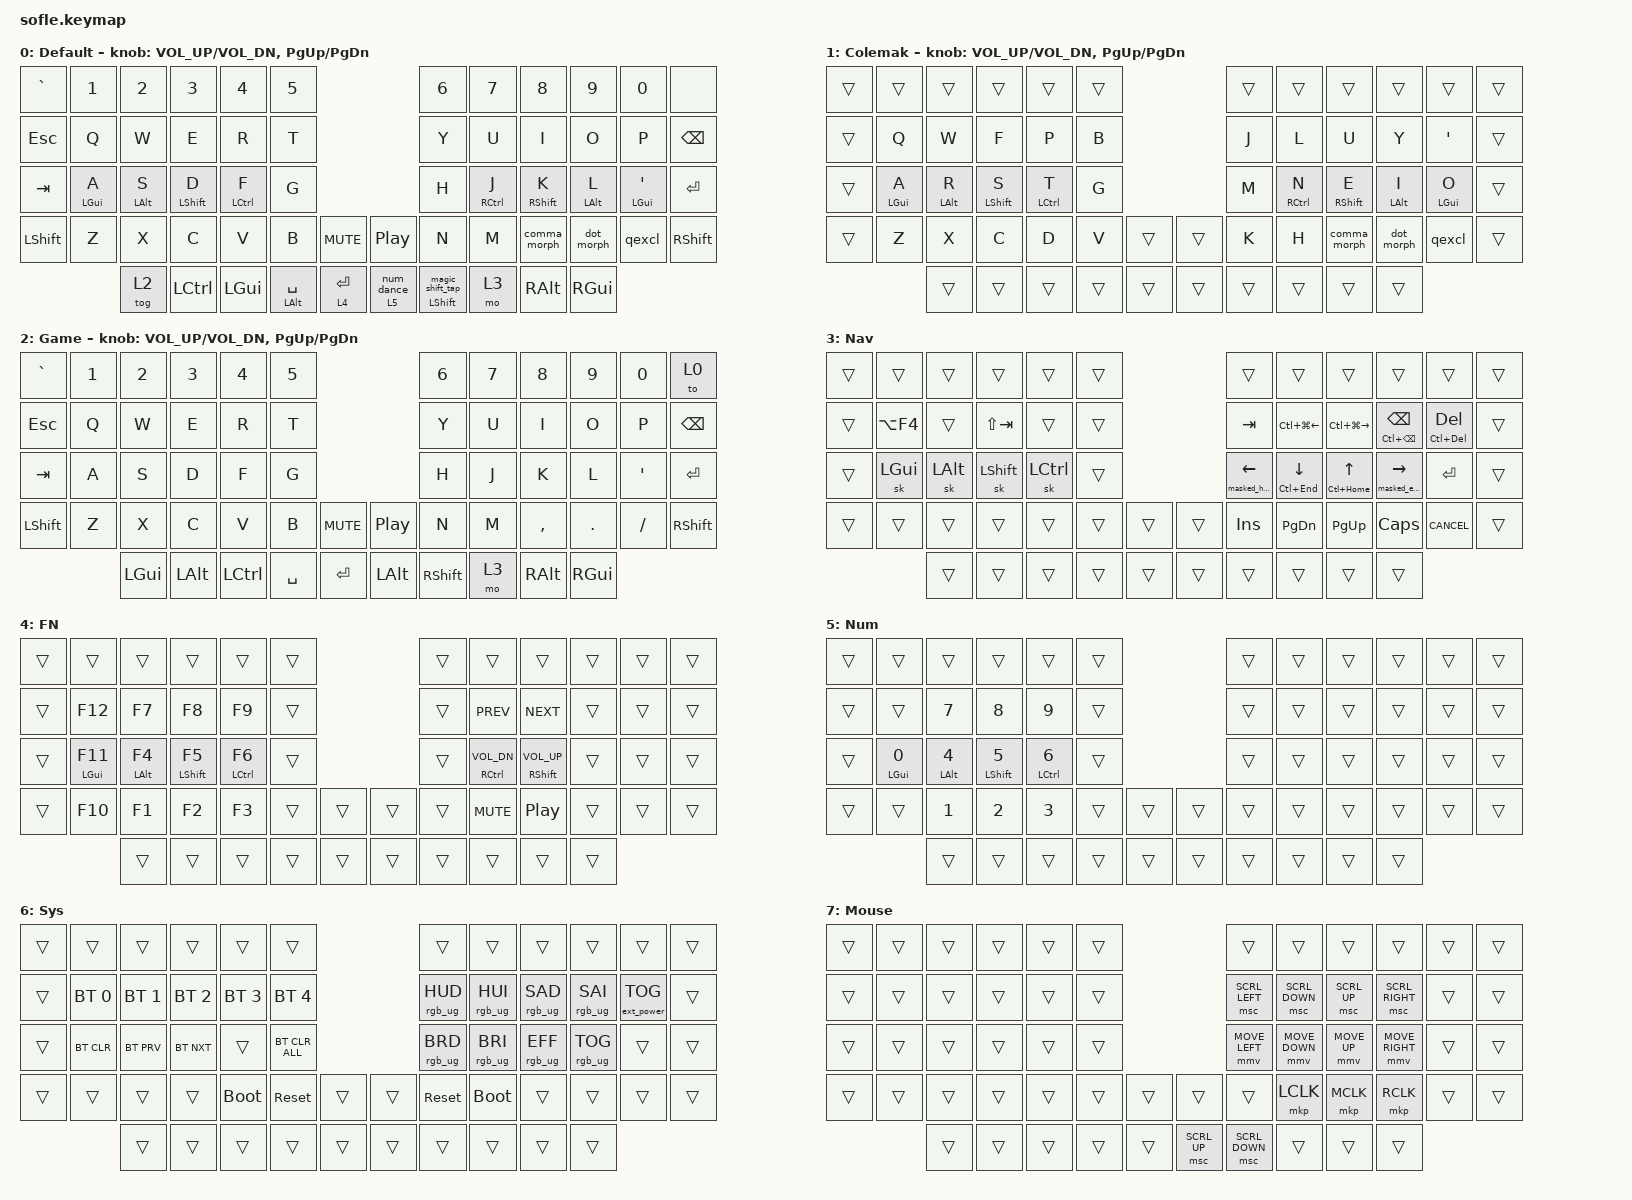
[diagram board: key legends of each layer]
#include <behaviors/num_word.dtsi> // Requires zmk-auto-layer module.
#include <behaviors/unicode.dtsi> // Requires zmk-unicode module.
#include <zmk-helpers/helper.h> // Requires zmk-helpers module.
#include <behaviors.dtsi>
#include <dt-bindings/zmk/bt.h>
#include <dt-bindings/zmk/ext_power.h>
#include <dt-bindings/zmk/keys.h>
#include <dt-bindings/zmk/pointing.h>
#include <dt-bindings/zmk/rgb.h>

&caps_word { /delete-property/ ignore-modifiers; };

&lt {
    flavor = "balanced";
    quick-tap-ms = <175>;
};

&mt {
    flavor = "tap-preferred";
    tapping-term-ms = <220>;
    quick-tap-ms = <220>;
};

&sk {
    quick-release;
    release-after-ms = <900>;
};

&sl { ignore-modifiers; };

/ {
    conditional_layers {
        compatible = "zmk,conditional-layers";

        Sys {
            if-layers = <4 5>;
            then-layer = <6>;
        };
    };

    combos {
        compatible = "zmk,combos";

        esc {
            bindings = <&kp ESC>;
            key-positions = <14 15>;
            timeout-ms = <18>;
            require-prior-idle-ms = <150>;
            layers = <0 1 3 5 7>;
        };

        mouse {
            bindings = <&mo 7>;
            key-positions = <15 16>;
            timeout-ms = <18>;
            require-prior-idle-ms = <150>;
            layers = <0 1 3 5 7>;
        };

        tab {
            bindings = <&kp TAB>;
            key-positions = <26 27>;
            layers = <0 1 3 5 7>;
            timeout-ms = <18>;
            require-prior-idle-ms = <150>;
        };

        cut {
            bindings = <&kp LC(X)>;
            key-positions = <38 40>;
            layers = <0 1 3 5 7>;
            timeout-ms = <18>;
            require-prior-idle-ms = <150>;
        };

        copy {
            bindings = <&kp LC(INS)>;
            key-positions = <38 39>;
            layers = <0 1 3 5 7>;
            timeout-ms = <18>;
            require-prior-idle-ms = <150>;
        };

        paste {
            bindings = <&kp LS(INS)>;
            key-positions = <39 40>;
            layers = <0 1 3 5 7>;
            timeout-ms = <18>;
            require-prior-idle-ms = <150>;
        };

        bspc {
            bindings = <&kp BSPC>;
            key-positions = <19 20>;
            layers = <0 1 3 5 7>;
            timeout-ms = <18>;
            require-prior-idle-ms = <150>;
        };

        del {
            bindings = <&kp DEL>;
            key-positions = <20 21>;
            layers = <0 1 3 5 7>;
            timeout-ms = <18>;
            require-prior-idle-ms = <150>;
        };

        lpar {
            bindings = <&lpar_lt_moprh>;
            key-positions = <31 32>;
            layers = <0 1 5 7>;
            timeout-ms = <18>;
            require-prior-idle-ms = <150>;
        };

        rpar {
            bindings = <&rpar_gt_morph>;
            key-positions = <32 33>;
            layers = <0 1 5 7>;
            timeout-ms = <18>;
            require-prior-idle-ms = <150>;
        };

        lt {
            bindings = <&kp LT>;
            key-positions = <31 32>;
            layers = <3>;
            timeout-ms = <18>;
            require-prior-idle-ms = <150>;
        };

        gt {
            bindings = <&kp GT>;
            key-positions = <32 33>;
            layers = <3>;
            timeout-ms = <18>;
            require-prior-idle-ms = <150>;
        };

        lbkt {
            bindings = <&kp LBKT>;
            key-positions = <45 46>;
            layers = <0 1 5 7>;
            timeout-ms = <18>;
            require-prior-idle-ms = <150>;
        };

        rbkt {
            bindings = <&kp RBKT>;
            key-positions = <46 47>;
            layers = <0 1 5 7>;
            timeout-ms = <18>;
            require-prior-idle-ms = <150>;
        };

        lbrc {
            bindings = <&kp LBRC>;
            key-positions = <45 46>;
            layers = <3>;
            timeout-ms = <18>;
            require-prior-idle-ms = <150>;
        };

        rbrc {
            bindings = <&kp RBRC>;
            key-positions = <46 47>;
            layers = <3>;
            timeout-ms = <18>;
            require-prior-idle-ms = <150>;
        };

        at {
            bindings = <&kp AT>;
            key-positions = <14 25>;
            layers = <0 1 3 5 7>;
            timeout-ms = <30>;
            require-prior-idle-ms = <50>;
        };

        hash {
            bindings = <&kp HASH>;
            key-positions = <15 26>;
            layers = <0 1 3 5 7>;
            timeout-ms = <30>;
            require-prior-idle-ms = <50>;
        };

        dllr {
            bindings = <&kp DOLLAR>;
            key-positions = <16 27>;
            layers = <0 1 3 5 7>;
            timeout-ms = <30>;
            require-prior-idle-ms = <50>;
        };

        prcnt {
            bindings = <&kp PERCENT>;
            key-positions = <17 28>;
            layers = <0 1 3 5 7>;
            timeout-ms = <30>;
            require-prior-idle-ms = <50>;
        };

        grave {
            bindings = <&kp GRAVE>;
            key-positions = <26 37>;
            layers = <0 1 3 5 7>;
            timeout-ms = <30>;
            require-prior-idle-ms = <50>;
        };

        blsh {
            bindings = <&kp BACKSLASH>;
            key-positions = <27 38>;
            layers = <0 1 3 5 7>;
            timeout-ms = <30>;
            require-prior-idle-ms = <50>;
        };

        equal {
            bindings = <&kp EQUAL>;
            key-positions = <28 39>;
            layers = <0 1 3 5 7>;
            timeout-ms = <30>;
            require-prior-idle-ms = <50>;
        };

        tilde {
            bindings = <&kp TILDE>;
            key-positions = <29 40>;
            layers = <0 1 3 5 7>;
            timeout-ms = <30>;
            require-prior-idle-ms = <50>;
        };

        caret {
            bindings = <&kp CARET>;
            key-positions = <18 31>;
            layers = <0 1 3 5 7>;
            timeout-ms = <30>;
            require-prior-idle-ms = <50>;
        };

        plus {
            bindings = <&kp PLUS>;
            key-positions = <19 32>;
            layers = <0 1 3 5 7>;
            timeout-ms = <30>;
            require-prior-idle-ms = <50>;
        };

        star {
            bindings = <&kp STAR>;
            key-positions = <20 33>;
            layers = <0 1 3 5 7>;
            timeout-ms = <30>;
            require-prior-idle-ms = <50>;
        };

        amps {
            bindings = <&kp AMPS>;
            key-positions = <21 34>;
            layers = <0 1 3 5 7>;
            timeout-ms = <30>;
            require-prior-idle-ms = <50>;
        };

        under {
            bindings = <&kp UNDER>;
            key-positions = <30 45>;
            layers = <0 1 3 5 7>;
            timeout-ms = <30>;
            require-prior-idle-ms = <50>;
        };

        minus {
            bindings = <&kp MINUS>;
            key-positions = <31 46>;
            layers = <0 1 3 5 7>;
            timeout-ms = <30>;
            require-prior-idle-ms = <50>;
        };

        fslh {
            bindings = <&kp FSLH>;
            key-positions = <47 32>;
            layers = <0 1 3 5 7>;
            timeout-ms = <30>;
            require-prior-idle-ms = <50>;
        };

        pipe {
            bindings = <&kp PIPE>;
            key-positions = <33 48>;
            layers = <0 1 3 5 7>;
            timeout-ms = <30>;
            require-prior-idle-ms = <50>;
        };

        tog_colemak {
            bindings = <&tog 1>;
            key-positions = <38 47>;
            layers = <0 1 3 5 7>;
            timeout-ms = <18>;
            require-prior-idle-ms = <150>;
        };

        tog_game {
            bindings = <&tog 2>;
            key-positions = <37 48>;
            layers = <0 1 2 3 5 7>;
            timeout-ms = <18>;
            require-prior-idle-ms = <150>;
        };
    };

    behaviors {
        hml: homerow_mods_left {
            compatible = "zmk,behavior-hold-tap";
            label = "HOMEROW_MODS_LEFT";
            bindings = <&kp>, <&kp>;

            #binding-cells = <2>;
            tapping-term-ms = <200>;
            flavor = "balanced";
            quick-tap-ms = <175>;
            hold-trigger-key-positions = <6 7 8 9 10 11 18 19 20 21 22 23 30 31 32 33 34 35 43 44 45 46 47 48 49 55 56 57 58 59>;
            hold-trigger-on-release;
            require-prior-idle-ms = <100>;
        };

        hmr: homerow_mods_right {
            compatible = "zmk,behavior-hold-tap";
            label = "HOMEROW_MODS_RIGHT";
            bindings = <&kp>, <&kp>;

            #binding-cells = <2>;
            tapping-term-ms = <200>;
            flavor = "balanced";
            quick-tap-ms = <175>;
            require-prior-idle-ms = <100>;
            hold-trigger-on-release;
            hold-trigger-key-positions = <0 1 2 3 4 5 12 13 14 15 16 17 24 25 26 27 28 29 36 37 38 39 40 41 42 50 51 52 53 54>;
        };

        hsl: homerow_shift_left {
            compatible = "zmk,behavior-hold-tap";
            label = "HOMEROW_SHIFT_LEFT";
            bindings = <&kp>, <&kp>;

            #binding-cells = <2>;
            tapping-term-ms = <200>;
            flavor = "balanced";
            quick-tap-ms = <175>;
            hold-trigger-key-positions = <6 7 8 9 10 11 18 19 20 21 22 23 30 31 32 33 34 35 43 44 45 46 47 48 49 55 56 57 58 59>;
            hold-trigger-on-release;
        };

        hsr: homerow_shift_right {
            compatible = "zmk,behavior-hold-tap";
            label = "HOMEROW_SHIFT_RIGHT";
            bindings = <&kp>, <&kp>;

            #binding-cells = <2>;
            tapping-term-ms = <200>;
            flavor = "balanced";
            quick-tap-ms = <175>;
            hold-trigger-on-release;
            hold-trigger-key-positions = <0 1 2 3 4 5 12 13 14 15 16 17 24 25 26 27 28 29 36 37 38 39 40 41 42 50 51 52 53 54>;
        };

        hll: homerow_layer_left {
            compatible = "zmk,behavior-hold-tap";
            label = "HOMEROW_LAYER_LEFT";
            bindings = <&mo>, <&kp>;

            #binding-cells = <2>;
            tapping-term-ms = <200>;
            flavor = "balanced";
            quick-tap-ms = <175>;
            hold-trigger-on-release;
            hold-trigger-key-positions = <6 7 8 9 10 11 18 19 20 21 22 23 30 31 32 33 34 35 43 44 45 46 47 48 49 55 56 57 58 59 39 40 38>;
        };

        hlr: homerow_layer_right {
            compatible = "zmk,behavior-hold-tap";
            label = "HOMEROW_LAYER_RIGHT";
            bindings = <&mo>, <&kp>;

            #binding-cells = <2>;
            tapping-term-ms = <200>;
            flavor = "balanced";
            quick-tap-ms = <175>;
            hold-trigger-on-release;
            hold-trigger-key-positions = <0 1 2 3 4 5 12 13 14 15 16 17 24 25 26 27 28 29 36 37 38 39 40 41 42 50 51 52 53 54 45 46 47>;
        };

        lpar_lt_moprh: lpar_lt_moprh {
            compatible = "zmk,behavior-mod-morph";
            label = "LPAR_LT_MOPRH";
            bindings = <&kp LPAR>, <&kp LT>;

            #binding-cells = <0>;
            mods = <(MOD_LSFT|MOD_RSFT)>;
        };

        rpar_gt_morph: rpar_gt_morph {
            compatible = "zmk,behavior-mod-morph";
            label = "RPAR_GT_MORPH";
            bindings = <&kp RPAR>, <&kp GT>;

            #binding-cells = <0>;
            mods = <(MOD_LSFT|MOD_RSFT)>;
        };

        hm_combo_lpar_lt: hm_combo_lpar_lt {
            compatible = "zmk,behavior-hold-tap";
            label = "HM_COMBO_LPAR_LT";
            bindings = <&kp>, <&lpar_lt_moprh>;

            #binding-cells = <2>;
            tapping-term-ms = <200>;
            require-prior-idle-ms = <100>;
            quick-tap-ms = <175>;
            hold-trigger-on-release;
            flavor = "balanced";
            hold-trigger-key-positions = <0 1 5 12 13 14 15 16 17 24 25 26 27 28 29 36 37 38 39 40 41 42 50 51 52 53 54 2 3 4 55 56 57 58 59>;
        };

        hm_combo_rpar_gt: hm_combo_rpar_gt {
            compatible = "zmk,behavior-hold-tap";
            label = "HM_COMBO_RPAR_GT";
            bindings = <&kp>, <&rpar_gt_morph>;

            #binding-cells = <2>;
            tapping-term-ms = <200>;
            require-prior-idle-ms = <100>;
            quick-tap-ms = <175>;
            hold-trigger-on-release;
            flavor = "balanced";
            hold-trigger-key-positions = <6 7 8 9 10 11 18 19 20 21 22 23 30 31 32 33 34 35 43 44 45 46 47 48 49 55 56 57 58 59 54 53 52 50 51>;
        };

        masked_home: masked_home {
            compatible = "zmk,behavior-mod-morph";
            label = "MASKED_HOME";
            bindings = <&kp HOME>, <&kp HOME>;

            #binding-cells = <0>;
            mods = <(MOD_LCTL)>;
        };

        masked_end: masked_end {
            compatible = "zmk,behavior-mod-morph";
            label = "MASKED_END";
            bindings = <&kp END>, <&kp END>;

            #binding-cells = <0>;
            mods = <(MOD_LCTL)>;
        };

        mt_home: mt_home {
            compatible = "zmk,behavior-hold-tap";
            label = "MT_HOME";
            bindings = <&masked_home>, <&kp>;

            #binding-cells = <2>;
            tapping-term-ms = <220>;
            flavor = "tap-preferred";
            quick-tap-ms = <220>;
        };

        mt_end: mt_end {
            compatible = "zmk,behavior-hold-tap";
            label = "MT_END";
            bindings = <&masked_end>, <&kp>;

            #binding-cells = <2>;
            tapping-term-ms = <220>;
            flavor = "tap-preferred";
            quick-tap-ms = <220>;
        };

        comma_morph: comma_morph {
            compatible = "zmk,behavior-mod-morph";
            label = "COMMA_MORPH";
            bindings = <&kp COMMA>, <&comma_inner_morph>;

            #binding-cells = <0>;
            mods = <(MOD_LSFT|MOD_RSFT)>;
        };

        comma_inner_morph: comma_inner_morph {
            compatible = "zmk,behavior-mod-morph";
            label = "COMMA_INNER_MORPH";
            bindings = <&kp SEMICOLON>, <&kp LESS_THAN>;

            #binding-cells = <0>;
            mods = <(MOD_RCTL|MOD_LCTL)>;
        };

        dot_morph: dot_morph {
            compatible = "zmk,behavior-mod-morph";
            label = "DOT_MORPH";
            bindings = <&kp DOT>, <&dot_inner_morph>;

            #binding-cells = <0>;
            mods = <(MOD_LSFT|MOD_RSFT)>;
        };

        dot_inner_morph: dot_inner_morph {
            compatible = "zmk,behavior-mod-morph";
            label = "DOT_INNER_MORPH";
            bindings = <&kp COLON>, <&kp GREATER_THAN>;

            #binding-cells = <0>;
            mods = <(MOD_RCTL|MOD_LCTL)>;
        };

        qexcl: qexcl {
            compatible = "zmk,behavior-mod-morph";
            label = "QEXCL";
            bindings = <&kp QMARK>, <&kp EXCL>;

            #binding-cells = <0>;
            mods = <(MOD_LSFT|MOD_RSFT)>;
        };

        magic_shift: magic_shift {
            compatible = "zmk,behavior-hold-tap";
            label = "MAGIC_SHIFT";
            bindings = <&kp>, <&magic_shift_tap>;

            #binding-cells = <2>;
            tapping-term-ms = <200>;
            quick-tap-ms = <175>;
            flavor = "balanced";
        };

        magic_shift_tap: magic_shift_tap {
            compatible = "zmk,behavior-mod-morph";
            label = "MAGIC_SHIFT_TAP";
            bindings = <&shift_repeat>, <&caps_word>;

            #binding-cells = <0>;
            mods = <(MOD_LSFT)>;
        };

        shift_repeat: shift_repeat {
            compatible = "zmk,behavior-adaptive-key";
            label = "SHIFT_REPEAT";
            bindings = <&sk LSHFT>;
            #binding-cells = <0>;

            repeat {
                trigger-keys = <A B C D E F G H I J K L M N O P Q R S T U V W X Y Z>;
                bindings = <&key_repeat>;
                #binding-cells = <0>;
                max-prior-idle-ms = <1200>;
                strict-modifiers;
            };
        };

        smart_num: smart_num {
            compatible = "zmk,behavior-hold-tap";
            label = "SMART_NUM";
            bindings = <&mo>, <&num_dance>;

            #binding-cells = <2>;
            tapping-term-ms = <200>;
            quick-tap-ms = <175>;
            flavor = "balanced";
        };

        num_dance: num_dance {
            compatible = "zmk,behavior-tap-dance";
            label = "NUM_DANCE";
            bindings = <&num_word 5>, <&sl 5>;

            #binding-cells = <0>;
            tapping-term-ms = <200>;
        };
    };

    keymap {
        compatible = "zmk,keymap";

        default_layer {
            display-name = "Default";
            bindings = <
&kp GRAVE  &kp N1       &kp N2       &kp N3        &kp N4        &kp N5                                        &kp N6                 &kp N7        &kp N8        &kp N9       &kp N0         &none
&kp ESC    &kp Q        &kp W        &kp E         &kp R         &kp T                                         &kp Y                  &kp U         &kp I         &kp O        &kp P          &kp BSPC
&kp TAB    &hml LGUI A  &hml LALT S  &hsl LSHFT D  &hml LCTRL F  &kp G                                         &kp H                  &hmr RCTRL J  &hsr RSHFT K  &hmr LALT L  &hmr LGUI SQT  &kp RET
&kp LSHFT  &kp Z        &kp X        &kp C         &kp V         &kp B           &kp C_MUTE    &kp C_PP        &kp N                  &kp M         &comma_morph  &dot_morph   &qexcl         &kp RSHIFT
                        &tog 2       &kp LCTRL     &kp LGUI      &mt LALT SPACE  &lt 4 RET     &smart_num 5 0  &magic_shift LSHIFT 0  &mo 3         &kp RALT      &kp RGUI
            >;

            sensor-bindings = <&inc_dec_kp C_VOL_UP C_VOL_DN &inc_dec_kp PG_UP PG_DN>;
            label = "Default";
        };

        colemak_layer {
            display-name = "Colemak";
            bindings = <
&trans  &trans       &trans       &trans        &trans        &trans                    &trans  &trans        &trans        &trans       &trans       &trans
&trans  &kp Q        &kp W        &kp F         &kp P         &kp B                     &kp J   &kp L         &kp U         &kp Y        &kp SQT      &trans
&trans  &hml LGUI A  &hml LALT R  &hsl LSHFT S  &hml LCTRL T  &kp G                     &kp M   &hmr RCTRL N  &hsr RSHFT E  &hmr LALT I  &hmr LGUI O  &trans
&trans  &kp Z        &kp X        &kp C         &kp D         &kp V   &trans    &trans  &kp K   &kp H         &comma_morph  &dot_morph   &qexcl       &trans
                     &trans       &trans        &trans        &trans  &trans    &trans  &trans  &trans        &trans        &trans
            >;

            sensor-bindings =
                <&inc_dec_kp C_VOL_UP C_VOL_DN>,
                <&inc_dec_kp PG_UP PG_DN>;

            label = "Colemak";
        };

        game_layer {
            display-name = "Game";
            bindings = <
&kp GRAVE  &kp N1  &kp N2    &kp N3    &kp N4     &kp N5                             &kp N6     &kp N7  &kp N8     &kp N9    &kp N0    &to 0
&kp ESC    &kp Q   &kp W     &kp E     &kp R      &kp T                              &kp Y      &kp U   &kp I      &kp O     &kp P     &kp BSPC
&kp TAB    &kp A   &kp S     &kp D     &kp F      &kp G                              &kp H      &kp J   &kp K      &kp L     &kp SQT   &kp ENTER
&kp LSHFT  &kp Z   &kp X     &kp C     &kp V      &kp B      &kp C_MUTE    &kp C_PP  &kp N      &kp M   &kp COMMA  &kp DOT   &kp FSLH  &kp RSHIFT
                   &kp LGUI  &kp LALT  &kp LCTRL  &kp SPACE  &kp RET       &kp LALT  &kp RSHFT  &mo 3   &kp RALT   &kp RGUI
            >;

            sensor-bindings =
                <&inc_dec_kp C_VOL_UP C_VOL_DN>,
                <&inc_dec_kp PG_UP PG_DN>;

            label = "Game";
        };

        nav_layer {
            bindings = <
&trans  &trans      &trans    &trans       &trans     &trans                    &trans           &trans            &trans             &trans             &trans           &trans
&trans  &kp LA(F4)  &trans    &kp LS(TAB)  &trans     &trans                    &kp TAB          &kp LC(LG(LEFT))  &kp LC(LG(RIGHT))  &mt LC(BSPC) BSPC  &mt LC(DEL) DEL  &trans
&trans  &sk LGUI    &sk LALT  &sk LSHFT    &sk LCTRL  &trans                    &mt_home 0 LEFT  &mt LC(END) DOWN  &mt LC(HOME) UP    &mt_end 0 RIGHT    &kp RET          &trans
&trans  &trans      &trans    &trans       &trans     &trans  &trans    &trans  &kp INS          &kp PG_DN         &kp PG_UP          &kp CLCK           &kp K_CANCEL     &trans
                    &trans    &trans       &trans     &trans  &trans    &trans  &trans           &trans            &trans             &trans
            >;

            label = "Nav";
        };

        fn_layer {
            bindings = <
&trans  &trans         &trans        &trans         &trans         &trans                    &trans  &trans               &trans               &trans  &trans  &trans
&trans  &kp F12        &kp F7        &kp F8         &kp F9         &trans                    &trans  &kp C_PREV           &kp C_NEXT           &trans  &trans  &trans
&trans  &hml LGUI F11  &hml LALT F4  &hsl LSHFT F5  &hml LCTRL F6  &trans                    &trans  &hmr RCTRL C_VOL_DN  &hsr RSHFT C_VOL_UP  &trans  &trans  &trans
&trans  &kp F10        &kp F1        &kp F2         &kp F3         &trans  &trans    &trans  &trans  &kp C_MUTE           &kp C_PP             &trans  &trans  &trans
                       &trans        &trans         &trans         &trans  &trans    &trans  &trans  &trans               &trans               &trans
            >;

            label = "FN";
        };

        num_layer {
            bindings = <
&trans  &trans        &trans        &trans         &trans         &trans                    &trans  &trans  &trans  &trans  &trans  &trans
&trans  &trans        &kp N7        &kp N8         &kp N9         &trans                    &trans  &trans  &trans  &trans  &trans  &trans
&trans  &hml LGUI N0  &hml LALT N4  &hsl LSHFT N5  &hml LCTRL N6  &trans                    &trans  &trans  &trans  &trans  &trans  &trans
&trans  &trans        &kp N1        &kp N2         &kp N3         &trans  &trans    &trans  &trans  &trans  &trans  &trans  &trans  &trans
                      &trans        &trans         &trans         &trans  &trans    &trans  &trans  &trans  &trans  &trans
            >;

            label = "Num";
        };

        sys_layer {
            display-name = "Sys";
            bindings = <
&trans  &trans        &trans        &trans        &trans        &trans                            &trans           &trans           &trans           &trans           &trans             &trans
&trans  &bt BT_SEL 0  &bt BT_SEL 1  &bt BT_SEL 2  &bt BT_SEL 3  &bt BT_SEL 4                      &rgb_ug RGB_HUD  &rgb_ug RGB_HUI  &rgb_ug RGB_SAD  &rgb_ug RGB_SAI  &ext_power EP_TOG  &trans
&trans  &bt BT_CLR    &bt BT_PRV    &bt BT_NXT    &trans        &bt BT_CLR_ALL                    &rgb_ug RGB_BRD  &rgb_ug RGB_BRI  &rgb_ug RGB_EFF  &rgb_ug RGB_TOG  &trans             &trans
&trans  &trans        &trans        &trans        &bootloader   &sys_reset      &trans    &trans  &sys_reset       &bootloader      &trans           &trans           &trans             &trans
                      &trans        &trans        &trans        &trans          &trans    &trans  &trans           &trans           &trans           &trans
            >;

            label = "Sys";
        };

        mouse_layer {
            bindings = <
&trans  &trans  &trans  &trans  &trans  &trans                          &trans          &trans          &trans        &trans           &trans  &trans
&trans  &trans  &trans  &trans  &trans  &trans                          &msc SCRL_LEFT  &msc SCRL_DOWN  &msc SCRL_UP  &msc SCRL_RIGHT  &trans  &trans
&trans  &trans  &trans  &trans  &trans  &trans                          &mmv MOVE_LEFT  &mmv MOVE_DOWN  &mmv MOVE_UP  &mmv MOVE_RIGHT  &trans  &trans
&trans  &trans  &trans  &trans  &trans  &trans  &trans    &trans        &trans          &mkp LCLK       &mkp MCLK     &mkp RCLK        &trans  &trans
                &trans  &trans  &trans  &trans  &trans    &msc SCRL_UP  &msc SCRL_DOWN  &trans          &trans        &trans
            >;

            label = "Mouse";
        };
    };
};
